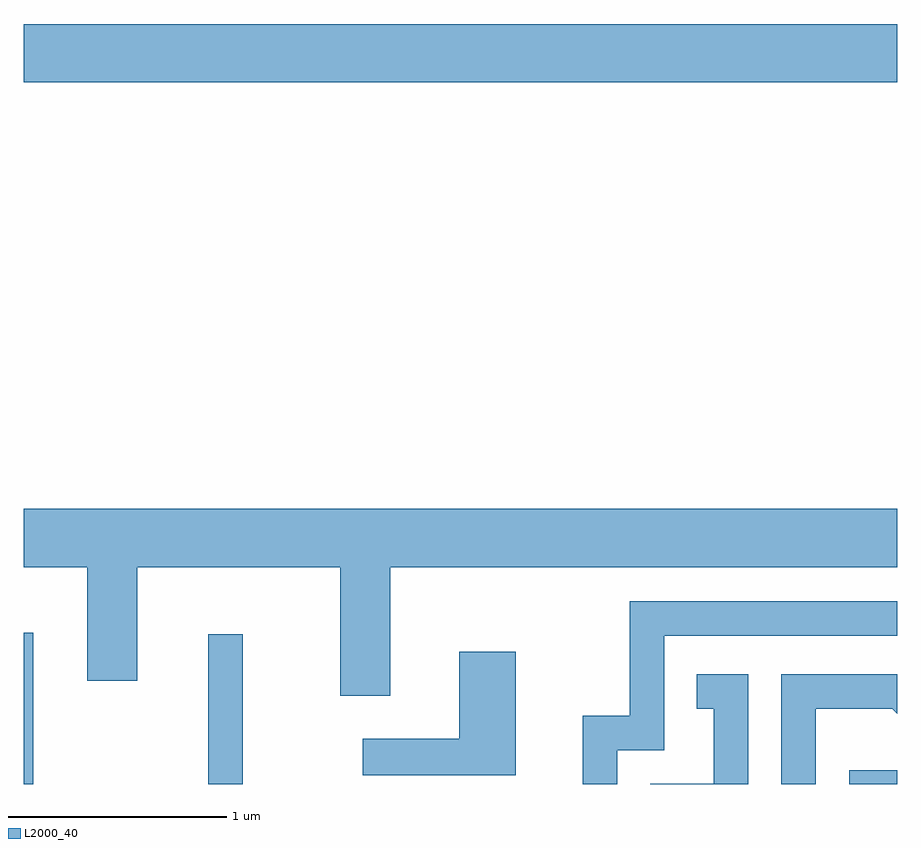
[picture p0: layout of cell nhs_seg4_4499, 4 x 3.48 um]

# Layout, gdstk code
import gdstk
lib = gdstk.Library(unit=1e-6, precision=1e-09)
def R(c, l, rs):  # rectangles x0, y0, x1, y1
    for r in rs: c.add(gdstk.rectangle(r[:2], r[2:], *l))
def P(c, l, *ps):  # polygons
    for p in ps: c.add(gdstk.Polygon(p, *l))
L2000_40 = (2000, 40)

nhs_seg4_4499 = lib.new_cell('nhs_seg4_4499')
R(nhs_seg4_4499, L2000_40, [(317.611,1275.982,317.654,1276.674), (318.456,1275.982,318.614,1276.668), (321.391,1275.982,321.611,1276.044), (317.611,1279.196,321.611,1279.464)])
P(nhs_seg4_4499, L2000_40, [(319.289,1276.976),(321.611,1276.976),(321.611,1277.244),(317.611,1277.244),(317.611,1276.976),(317.901,1276.976),(317.901,1276.456),(318.129,1276.456),(318.129,1276.976),(319.061,1276.976),(319.061,1276.386),(319.289,1276.386)],
  [(320.329,1276.136),(320.544,1276.136),(320.544,1276.661),(321.611,1276.661),(321.611,1276.819),(320.386,1276.819),(320.386,1276.294),(320.171,1276.294),(320.171,1275.982),(320.329,1275.982)],
  [(319.864,1276.589),(319.606,1276.589),(319.606,1276.189),(319.163,1276.189),(319.163,1276.021),(319.864,1276.021)],
  [(320.929,1276.484),(320.693,1276.484),(320.693,1276.326),(320.771,1276.326),(320.771,1275.984),(320.481,1275.984),(320.481,1275.982),(320.929,1275.982)],
  [(321.239,1276.326),(321.589,1276.326),(321.611,1276.304),(321.611,1276.484),(321.081,1276.484),(321.081,1275.982),(321.239,1275.982)])

lib.write_gds('nhs_seg4_4499.gds')
